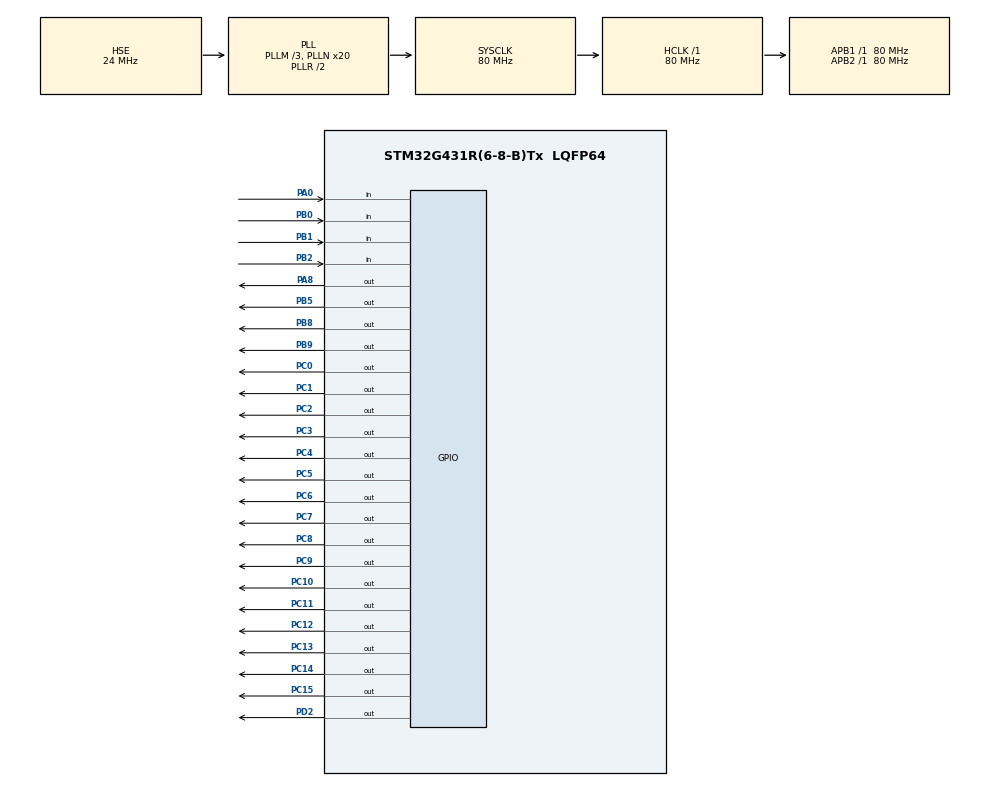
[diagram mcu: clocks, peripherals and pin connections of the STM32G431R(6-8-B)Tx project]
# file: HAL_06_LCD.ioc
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Mcu.Family=STM32G4
RCC.CortexFreq_Value=80000000
PC10.Signal=GPIO_Output
PC12.Signal=GPIO_Output
RCC.SYSCLKSource=RCC_SYSCLKSOURCE_PLLCLK
ProjectManager.StackSize=0x400
PB1.GPIO_PuPd=GPIO_NOPULL
RCC.HCLKFreq_Value=80000000
RCC.APB2TimFreq_Value=80000000
PC7.Signal=GPIO_Output
PC3.Signal=GPIO_Output
RCC.AHBFreq_Value=80000000
RCC.HSE_VALUE=24000000
PB2.Signal=GPIO_Input
RCC.ADC12Freq_Value=80000000
PA14.Mode=Serial_Wire
VP_SYS_VS_DBSignals.Mode=DisableDeadBatterySignals
PA8.Signal=GPIO_Output
PB2.GPIO_PuPd=GPIO_NOPULL
PA0.Signal=GPIO_Input
Mcu.Package=LQFP64
PB9.Signal=GPIO_Output
PB1.Signal=GPIO_Input
PB0.GPIO_Mode=GPIO_MODE_INPUT
PA0.GPIO_PuPd=GPIO_NOPULL
RCC.APB1TimFreq_Value=80000000
PC5.Signal=GPIO_Output
PF1-OSC_OUT.Mode=HSE-External-Oscillator
PF1-OSC_OUT.Signal=RCC_OSC_OUT
RCC.HSI48_VALUE=48000000
RCC.PLLSourceVirtual=RCC_PLLSOURCE_HSE
TIM4.AutoReloadPreload=TIM_AUTORELOAD_PRELOAD_ENABLE
PC11.Signal=GPIO_Output
PC13.Signal=GPIO_Output
TIM4.PeriodNoDither=1000 - 1
PC8.Signal=GPIO_Output
PC4.Signal=GPIO_Output
PC2.Signal=GPIO_Output
PC6.Signal=GPIO_Output
PA0.GPIO_Mode=GPIO_MODE_INPUT
RCC.EXTERNAL_CLOCK_VALUE=12288000
PC0.Signal=GPIO_Output
PC14-OSC32_IN.Signal=GPIO_Output
PA13.Signal=SYS_JTMS-SWDIO
ProjectManager.TargetToolchain=MDK-ARM V5.27
PB1.GPIO_Mode=GPIO_MODE_INPUT
RCC.USBFreq_Value=80000000
TIM4.Prescaler=80 - 1
RCC.LSE_VALUE=32768
PC15-OSC32_OUT.Signal=GPIO_Output
PF0-OSC_IN.Mode=HSE-External-Oscillator
PB8-BOOT0.Signal=GPIO_Output
board=custom
RCC.VCOOutputFreq_Value=160000000
RCC.APB2Freq_Value=80000000
PB2.GPIO_Mode=GPIO_MODE_INPUT
PA13.Mode=Serial_Wire
Mcu.Name=STM32G431R(6-8-B)Tx
RCC.SYSCLKFreq_VALUE=80000000
PB5.Signal=GPIO_Output
PA14.Signal=SYS_JTCK-SWCLK
ProjectManager.HeapSize=0x200
RCC.HSI_VALUE=16000000
VP_TIM4_VS_ClockSourceINT.Mode=Internal
NVIC.PriorityGroup=NVIC_PRIORITYGROUP_4
RCC.PLLM=RCC_PLLM_DIV3
RCC.PLLN=20
PC9.Signal=GPIO_Output
PF0-OSC_IN.Signal=RCC_OSC_IN
PD2.Signal=GPIO_Output
NVIC.TIM4_IRQn=true\:0\:0\:false\:false\:true\:true\:true
RCC.APB1Freq_Value=80000000
PB0.Signal=GPIO_Input
PC1.Signal=GPIO_Output
PB0.GPIO_PuPd=GPIO_NOPULL

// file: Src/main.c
/* USER CODE BEGIN Header */
/**
  ******************************************************************************
  * @file           : main.c
  * @brief          : Main program body
  ******************************************************************************
  * @attention
  *
  * <h2><center>&copy; Copyright (c) 2021 STMicroelectronics.
  * All rights reserved.</center></h2>
  *
  * This software component is licensed by ST under BSD 3-Clause license,
  * the "License"; You may not use this file except in compliance with the
  * License. You may obtain a copy of the License at:
  *                        opensource.org/licenses/BSD-3-Clause
  *
  ******************************************************************************
  */
/* USER CODE END Header */

#include "main.h"
#include "tim.h"
#include "gpio.h"

/* USER CODE BEGIN PV */
uint16_t led_tick = 0;
_Bool led_flag = 0;

uint8_t key_tick = 0;
/* USER CODE END PV */

void SystemClock_Config(void);
/* USER CODE BEGIN PFP */
void led_proc(void);
void key_scan(void);
/* USER CODE END PFP */

int main(void)
{

  /* MCU Configuration--------------------------------------------------------*/

  /* Reset of all peripherals, Initializes the Flash interface and the Systick. */
  HAL_Init();

  /* Configure the system clock */
  SystemClock_Config();

  /* Initialize all configured peripherals */
  MX_GPIO_Init();
  MX_TIM4_Init();
  /* USER CODE BEGIN 2 */

	LCD_Init();

	led_init();

	HAL_TIM_Base_Start_IT(&htim4);

  /* USER CODE END 2 */

  /* Infinite loop */
  /* USER CODE BEGIN WHILE */

	LCD_Clear(Blue);
	LCD_SetBackColor(Blue);
	LCD_SetTextColor(White);

	LCD_DisplayStringLine(Line0, (uint8_t *)"                    ");
	LCD_DisplayStringLine(Line1, (uint8_t *)"                    ");
	LCD_DisplayStringLine(Line2, (uint8_t *)"      LCD Test      ");
	LCD_DisplayStringLine(Line3, (uint8_t *)"                    ");
	LCD_DisplayStringLine(Line4, (uint8_t *)"                    ");

	LCD_SetBackColor(White);
	LCD_SetTextColor(Blue);

	LCD_DisplayStringLine(Line5, (uint8_t *)"                    ");
	LCD_DisplayStringLine(Line6, (uint8_t *)"       HAL LIB      ");
	LCD_DisplayStringLine(Line7, (uint8_t *)"                    ");
	LCD_DisplayStringLine(Line8, (uint8_t *)"         @80        ");
	LCD_DisplayStringLine(Line9, (uint8_t *)"                    ");

  while (1)
  {
    /* USER CODE END WHILE */

    /* USER CODE BEGIN 3 */
		led_proc();
  }
  /* USER CODE END 3 */
}

void SystemClock_Config(void)
{
  RCC_OscInitTypeDef RCC_OscInitStruct = {0};
  RCC_ClkInitTypeDef RCC_ClkInitStruct = {0};

  /** Configure the main internal regulator output voltage
  */
  HAL_PWREx_ControlVoltageScaling(PWR_REGULATOR_VOLTAGE_SCALE1);
  /** Initializes the CPU, AHB and APB busses clocks
  */
  RCC_OscInitStruct.OscillatorType = RCC_OSCILLATORTYPE_HSE;
  RCC_OscInitStruct.HSEState = RCC_HSE_ON;
  RCC_OscInitStruct.PLL.PLLState = RCC_PLL_ON;
  RCC_OscInitStruct.PLL.PLLSource = RCC_PLLSOURCE_HSE;
  RCC_OscInitStruct.PLL.PLLM = RCC_PLLM_DIV3;
  RCC_OscInitStruct.PLL.PLLN = 20;
  RCC_OscInitStruct.PLL.PLLP = RCC_PLLP_DIV2;
  RCC_OscInitStruct.PLL.PLLQ = RCC_PLLQ_DIV2;
  RCC_OscInitStruct.PLL.PLLR = RCC_PLLR_DIV2;
  if (HAL_RCC_OscConfig(&RCC_OscInitStruct) != HAL_OK)
  {
    Error_Handler();
  }
  /** Initializes the CPU, AHB and APB busses clocks
  */
  RCC_ClkInitStruct.ClockType = RCC_CLOCKTYPE_HCLK|RCC_CLOCKTYPE_SYSCLK
                              |RCC_CLOCKTYPE_PCLK1|RCC_CLOCKTYPE_PCLK2;
  RCC_ClkInitStruct.SYSCLKSource = RCC_SYSCLKSOURCE_PLLCLK;
  RCC_ClkInitStruct.AHBCLKDivider = RCC_SYSCLK_DIV1;
  RCC_ClkInitStruct.APB1CLKDivider = RCC_HCLK_DIV1;
  RCC_ClkInitStruct.APB2CLKDivider = RCC_HCLK_DIV1;

  if (HAL_RCC_ClockConfig(&RCC_ClkInitStruct, FLASH_LATENCY_3) != HAL_OK)
  {
    Error_Handler();
  }
}

/* USER CODE BEGIN 4 */
void key_scan(void)
{
	key_refresh();
	if(key_falling == B1)
	{
		led_toggle(LD5);
	}
	else if(key_falling == B2)
	{
		led_toggle(LD6);
	}
	else if(key_falling == B3)
	{
		led_toggle(LD7);
	}
	else if(key_falling == B4)
	{
		led_toggle(LD8);
	}
}

void led_proc(void)
{
	if(led_flag)
	{
		led_flag = 0;
		led_toggle(LD1);
	}
}

void HAL_TIM_PeriodElapsedCallback(TIM_HandleTypeDef *htim)
{
	if(htim->Instance == TIM4)
	{
		if(++led_tick == 1000)
		{
			led_tick = 0;
			led_flag = 1;
		}
		if(++key_tick == 10)
		{
			key_tick = 0;
			key_scan();
		}
	}
}
/* USER CODE END 4 */

void Error_Handler(void)
{
}

/************************ (C) COPYRIGHT STMicroelectronics *****END OF FILE****/
